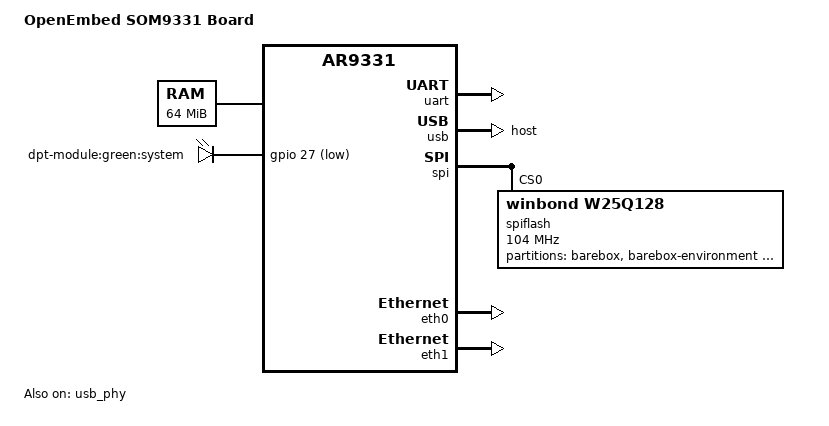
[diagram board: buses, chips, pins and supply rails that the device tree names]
/dts-v1/;

#include <dt-bindings/gpio/gpio.h>
#include <dt-bindings/input/input.h>

#include <mips/qca/ar9331.dtsi>
#include "ar9331.dtsi"

/ {
	model = "OpenEmbed SOM9331 Board";
	compatible = "openembed,som9331-board", "openembed,som9331-module";
	barebox,disable-deep-probe;

	aliases {
		serial0 = &uart;
		spiflash = &spiflash;
	};

	memory@0 {
		device_type = "memory";
		reg = <0x0 0x4000000>;
	};

	leds {
		compatible = "gpio-leds";

		system {
			label = "dpt-module:green:system";
			gpios = <&gpio 27 GPIO_ACTIVE_LOW>;
			default-state = "off";
			barebox,default-trigger = "heartbeat";
		};
	};


	chosen {
		stdout-path = &uart;

		environment {
			compatible = "barebox,environment";
			device-path = &env_nor;
		};

		art@0 {
			compatible = "qca,art-ar9331", "qca,art";
			device-path = &spiflash_art;
			barebox,provide-mac-address = <&eth0>;
		};
	};

	gpio-keys {
		button@0 {
			gpios = <&gpio 11 GPIO_ACTIVE_HIGH>;
		};
	};
};

&ref {
	clock-frequency = <25000000>;
};

&uart {
	status = "okay";
};

&gpio {
	status = "okay";
};

&usb {
	dr_mode = "host";
	status = "okay";
};

&usb_phy {
	status = "okay";
};

&spi {
	num-chipselects = <1>;
	status = "okay";

	/* Winbond 25Q128FVSG SPI flash */
	spiflash: w25q128@0 {
		#address-cells = <1>;
		#size-cells = <1>;
		compatible = "winbond,w25q128", "jedec,spi-nor";
		spi-max-frequency = <104000000>;
		reg = <0>;
	};
};

&spiflash {
	partition@0 {
		label = "barebox";
		reg = <0 0x80000>;
	};

	env_nor: partition@80000 {
		label = "barebox-environment";
		reg = <0x80000 0x10000>;
	};

	spiflash_art: partition@7f0000 {
		label = "art";
		reg = <0x7f0000 0x10000>;
	};
};

&eth0 {
	status = "okay";
};

&eth1 {
	status = "okay";
};
